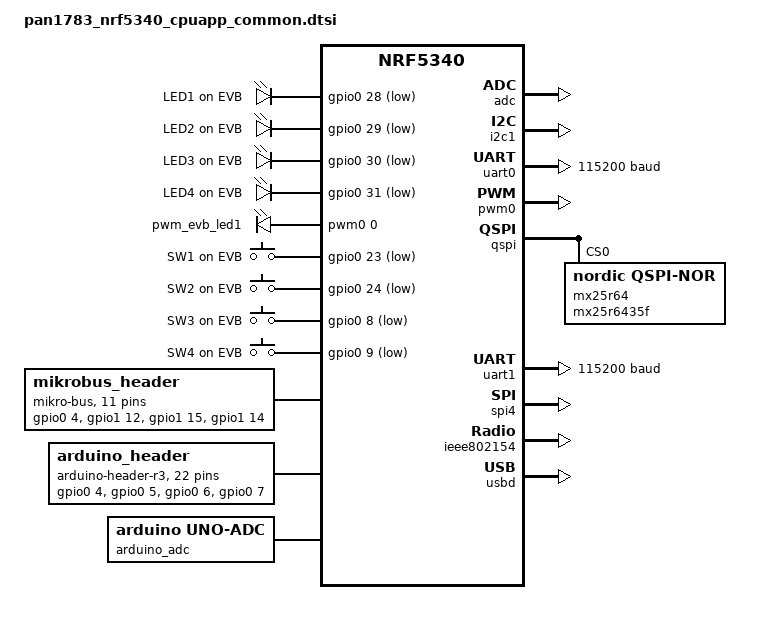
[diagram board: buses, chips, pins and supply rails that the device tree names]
/*
 * Copyright (c) 2023 Panasonic Industrial Devices Europe GmbH
 *
 * SPDX-License-Identifier: Apache-2.0
 */
#include "pan1783_nrf5340_cpuapp_common-pinctrl.dtsi"
#include <zephyr/dt-bindings/input/input-event-codes.h>

/ {

	chosen {
		zephyr,console = &uart0;
		zephyr,shell-uart = &uart0;
		zephyr,uart-mcumgr = &uart0;
		zephyr,bt-mon-uart = &uart0;
		zephyr,bt-c2h-uart = &uart0;
		zephyr,bt-hci-ipc = &ipc0;
		nordic,802154-spinel-ipc = &ipc0;
		zephyr,ieee802154 = &ieee802154;
	};

	leds {
		compatible = "gpio-leds";
		evb_led1: evb_led_1 {
			gpios = <&gpio0 28 GPIO_ACTIVE_LOW>;
			label = "LED1 on EVB";
		};
		evb_led2: evb_led_2 {
			gpios = <&gpio0 29 GPIO_ACTIVE_LOW>;
			label = "LED2 on EVB";
		};
		evb_led3: evb_led_3 {
			gpios = <&gpio0 30 GPIO_ACTIVE_LOW>;
			label = "LED3 on EVB";
		};
		evb_led4: evb_led_4 {
			gpios = <&gpio0 31 GPIO_ACTIVE_LOW>;
			label = "LED4 on EVB";
		};
	};

	pwmleds {
		compatible = "pwm-leds";
		pwm_evb_led1: pwm_evb_led_1 {
			pwms = <&pwm0 0 PWM_MSEC(20) PWM_POLARITY_INVERTED>;
		};
	};

	buttons {
		compatible = "gpio-keys";
		evb_sw1: evb_sw_1 {
			gpios = <&gpio0 23 (GPIO_PULL_UP | GPIO_ACTIVE_LOW)>;
			label = "SW1 on EVB";
			zephyr,code = <INPUT_KEY_0>;
		};
		evb_sw2: evb_sw_2 {
			gpios = <&gpio0 24 (GPIO_PULL_UP | GPIO_ACTIVE_LOW)>;
			label = "SW2 on EVB";
			zephyr,code = <INPUT_KEY_1>;
		};
		evb_sw3: evb_sw_3 {
			gpios = <&gpio0 8 (GPIO_PULL_UP | GPIO_ACTIVE_LOW)>;
			label = "SW3 on EVB";
			zephyr,code = <INPUT_KEY_2>;
		};
		evb_sw4: evb_sw_4 {
			gpios = <&gpio0 9 (GPIO_PULL_UP | GPIO_ACTIVE_LOW)>;
			label = "SW4 on EVB";
			zephyr,code = <INPUT_KEY_3>;
		};
	};

	mikrobus_header: mikrobus-connector {
		compatible = "mikro-bus";
		#gpio-cells = <2>;
		gpio-map-mask = <0xffffffff 0xffffffc0>;
		gpio-map-pass-thru = <0 0x3f>;
		gpio-map =	<0 0 &gpio0 4 0>,	/* AN */
				/* Not a GPIO*/		/* RST */
				<2 0 &gpio1 12 0>,	/* CS */
				<3 0 &gpio1 15 0>,	/* SCK */
				<4 0 &gpio1 14 0>,	/* MISO */
				<5 0 &gpio1 13 0>,	/* MOSI */
							/* +3.3V */
							/* GND */
				<6 0 &gpio1 7 0>,	/* PWM */
				<7 0 &gpio1 4 0>,	/* INT */
				<8 0 &gpio1 0 0>,	/* RX */
				<9 0 &gpio1 1 0>,	/* TX */
				<10 0 &gpio1 3 0>,	/* SCL */
				<11 0 &gpio1 2 0>;	/* SDA */
							/* +5V */
							/* GND */
	};

	arduino_header: connector {
		compatible = "arduino-header-r3";
		#gpio-cells = <2>;
		gpio-map-mask = <0xffffffff 0xffffffc0>;
		gpio-map-pass-thru = <0 0x3f>;
		gpio-map = <0 0 &gpio0 4 0>,	/* A0 */
			   <1 0 &gpio0 5 0>,	/* A1 */
			   <2 0 &gpio0 6 0>,	/* A2 */
			   <3 0 &gpio0 7 0>,	/* A3 */
			   <4 0 &gpio0 25 0>,	/* A4 */
			   <5 0 &gpio0 26 0>,	/* A5 */
			   <6 0 &gpio1 0 0>,	/* D0 */
			   <7 0 &gpio1 1 0>,	/* D1 */
			   <8 0 &gpio1 4 0>,	/* D2 */
			   <9 0 &gpio1 5 0>,	/* D3 */
			   <10 0 &gpio1 6 0>,	/* D4 */
			   <11 0 &gpio1 7 0>,	/* D5 */
			   <12 0 &gpio1 8 0>,	/* D6 */
			   <13 0 &gpio1 9 0>,	/* D7 */
			   <14 0 &gpio1 10 0>,	/* D8 */
			   <15 0 &gpio1 11 0>,	/* D9 */
			   <16 0 &gpio1 12 0>,	/* D10 */
			   <17 0 &gpio1 13 0>,	/* D11 */
			   <18 0 &gpio1 14 0>,	/* D12 */
			   <19 0 &gpio1 15 0>,	/* D13 */
			   <20 0 &gpio1 2 0>,	/* D14 */
			   <21 0 &gpio1 3 0>;	/* D15 */
	};

	arduino_adc: analog-connector {
		compatible = "arduino,uno-adc";
		#io-channel-cells = <1>;
		io-channel-map = <0 &adc 0>,	/* A0 = P0.4 = AIN0 */
				 <1 &adc 1>,	/* A1 = P0.5 = AIN1 */
				 <2 &adc 2>,	/* A2 = P0.6 = AIN2 */
				 <3 &adc 3>,	/* A3 = P0.7 = AIN3 */
				 <4 &adc 4>,	/* A4 = P0.25 = AIN4 */
				 <5 &adc 5>;	/* A5 = P0.26 = AIN5 */
	};

	gpio_fwd: nrf-gpio-forwarder {
		compatible = "nordic,nrf-gpio-forwarder";
		status = "disabled";
		uart {
			gpios = <&gpio0 20 0>, <&gpio0 22 0>, <&gpio0 11 0>, <&gpio0 10 0>;
		};
	};

	/* These aliases are provided for compatibility with samples */
	aliases {
		led0 = &evb_led1;
		led1 = &evb_led2;
		led2 = &evb_led3;
		led3 = &evb_led4;
		pwm-led0 = &pwm_evb_led1;
		sw0 = &evb_sw1;
		sw1 = &evb_sw2;
		sw2 = &evb_sw3;
		sw3 = &evb_sw4;
		bootloader-led0 = &evb_led1;
		mcuboot-button0 = &evb_sw1;
		mcuboot-led0 = &evb_led1;
		watchdog0 = &wdt0;
		spi-flash0 = &mx25r64;
	};
};

&adc {
	status = "okay";
};

&gpiote {
	status = "okay";
};

&gpio0 {
	status = "okay";
};

&gpio1 {
	status = "okay";
};

&i2c1 {
	compatible = "nordic,nrf-twim";
	status = "okay";
	pinctrl-0 = <&i2c1_default>;
	pinctrl-1 = <&i2c1_sleep>;
	pinctrl-names = "default", "sleep";
};

&uart0 {
	status = "okay";
	current-speed = <115200>;
	pinctrl-0 = <&uart0_default>;
	pinctrl-1 = <&uart0_sleep>;
	pinctrl-names = "default", "sleep";
};

&pwm0 {
	status = "okay";
	pinctrl-0 = <&pwm0_default>;
	pinctrl-1 = <&pwm0_sleep>;
	pinctrl-names = "default", "sleep";
};

&qspi {
	status = "okay";
	pinctrl-0 = <&qspi_default>;
	pinctrl-1 = <&qspi_sleep>;
	pinctrl-names = "default", "sleep";
	mx25r64: mx25r6435f@0 {
		compatible = "nordic,qspi-nor";
		reg = <0>;
		/* MX25R64 supports only pp and pp4io */
		writeoc = "pp4io";
		/* MX25R64 supports all readoc options */
		readoc = "read4io";
		sck-frequency = <8000000>;
		jedec-id = [ c2 28 17  ];
		sfdp-bfp = [
			e5 20 f1 ff ff ff ff 03 44 eb 08 6b 08 3b 04 bb
			ee ff ff ff ff ff 00 ff ff ff 00 ff 0c 20 0f 52
			10 d8 00 ff 23 72 f5 00 82 ed 04 cc 44 83 68 44
			30 b0 30 b0 f7 c4 d5 5c 00 be 29 ff f0 d0 ff ff
		];
		size = <67108864>;
		has-dpd;
		t-enter-dpd = <10000>;
		t-exit-dpd = <35000>;
	};
};

arduino_serial: &uart1 {
	compatible = "nordic,nrf-uarte";
	current-speed = <115200>;
	pinctrl-0 = <&uart1_default>;
	pinctrl-1 = <&uart1_sleep>;
	pinctrl-names = "default", "sleep";
};

arduino_i2c: &i2c1 {};

arduino_spi: &spi4 {
	compatible = "nordic,nrf-spim";
	status = "okay";
	cs-gpios = <&arduino_header 16 GPIO_ACTIVE_LOW>; /* D10 */
	pinctrl-0 = <&spi4_default>;
	pinctrl-1 = <&spi4_sleep>;
	pinctrl-names = "default", "sleep";
};

&flash0 {

	partitions {
		compatible = "fixed-partitions";
		#address-cells = <1>;
		#size-cells = <1>;

		boot_partition: partition@0 {
			label = "mcuboot";
			reg = <0x00000000 0x00010000>;
		};
		slot0_partition: partition@10000 {
			label = "image-0";
		};
		slot1_partition: partition@80000 {
			label = "image-1";
		};
		/* 0xf0000 to 0xf7fff reserved for TF-M partitions */
		storage_partition: partition@f8000 {
			label = "storage";
			reg = <0x000f8000 0x00008000>;
		};
	};
};

&ieee802154 {
	status = "okay";
};

zephyr_udc0: &usbd {
	compatible = "nordic,nrf-usbd";
	status = "okay";
};

/ {

	reserved-memory {
		#address-cells = <1>;
		#size-cells = <1>;
		ranges;

		sram0_image: image@20000000 {
			/* Zephyr image(s) memory */
		};

		sram0_s: image_s@20000000 {
			/* Secure image memory */
		};
	};
};

/* Include partition configuration file */
#include "pan1783_nrf5340_cpuapp_partition_conf.dtsi"
